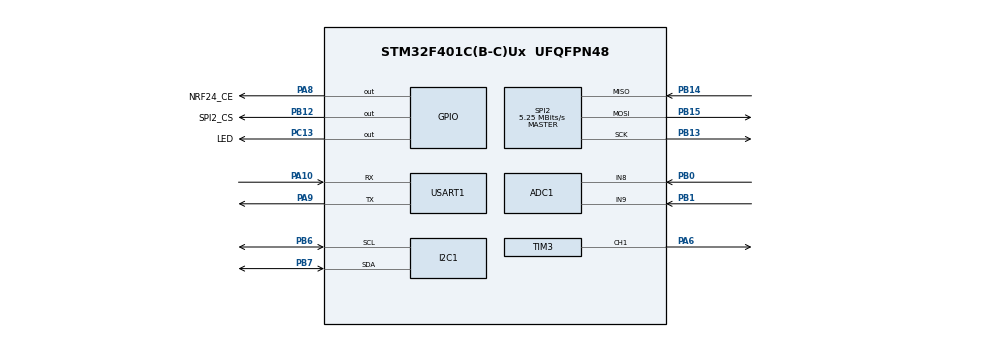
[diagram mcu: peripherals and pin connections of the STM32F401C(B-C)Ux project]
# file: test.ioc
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ADC1.Channel-0\#ChannelRegularConversion=ADC_CHANNEL_8
ADC1.Channel-1\#ChannelRegularConversion=ADC_CHANNEL_9
ADC1.ContinuousConvMode=ENABLE
ADC1.DMAContinuousRequests=ENABLE
ADC1.DiscontinuousConvMode=DISABLE
ADC1.EOCSelection=ADC_EOC_SEQ_CONV
ADC1.EnableAnalogWatchDog=false
ADC1.InjNumberOfConversion=0
ADC1.NbrOfConversion=2
ADC1.NbrOfConversionFlag=1
ADC1.Rank-0\#ChannelRegularConversion=1
ADC1.Rank-1\#ChannelRegularConversion=2
ADC1.SamplingTime-0\#ChannelRegularConversion=ADC_SAMPLETIME_3CYCLES
ADC1.SamplingTime-1\#ChannelRegularConversion=ADC_SAMPLETIME_3CYCLES
ADC1.ScanConvMode=ENABLE
ADC1.master=1
Dma.ADC1.0.Direction=DMA_PERIPH_TO_MEMORY
Dma.ADC1.0.FIFOMode=DMA_FIFOMODE_DISABLE
Dma.ADC1.0.Instance=DMA2_Stream0
Dma.ADC1.0.MemDataAlignment=DMA_MDATAALIGN_HALFWORD
Dma.ADC1.0.MemInc=DMA_MINC_ENABLE
Dma.ADC1.0.Mode=DMA_CIRCULAR
Dma.ADC1.0.PeriphDataAlignment=DMA_PDATAALIGN_HALFWORD
Dma.ADC1.0.PeriphInc=DMA_PINC_DISABLE
Dma.ADC1.0.Priority=DMA_PRIORITY_LOW
Dma.Request0=ADC1
I2C1.I2C_Mode=I2C_Fast
Mcu.Family=STM32F4
Mcu.Name=STM32F401C(B-C)Ux
Mcu.Package=UFQFPN48
NVIC.DMA2_Stream0_IRQn=true\:0\:0\:false\:false\:true\:false\:true\:true
NVIC.PriorityGroup=NVIC_PRIORITYGROUP_4
PA10.Mode=Asynchronous
PA10.Signal=USART1_RX
PA13.Mode=Serial_Wire
PA13.Signal=SYS_JTMS-SWDIO
PA14.Mode=Serial_Wire
PA14.Signal=SYS_JTCK-SWCLK
PA6.Signal=S_TIM3_CH1
PA8.GPIO_Label=NRF24_CE
PA8.Signal=GPIO_Output
PA9.Mode=Asynchronous
PA9.Signal=USART1_TX
PB0.Signal=ADCx_IN8
PB1.Signal=ADCx_IN9
PB12.GPIO_Label=SPI2_CS
PB12.Signal=GPIO_Output
PB13.Mode=Full_Duplex_Master
PB13.Signal=SPI2_SCK
PB14.Mode=Full_Duplex_Master
PB14.Signal=SPI2_MISO
PB15.Mode=Full_Duplex_Master
PB15.Signal=SPI2_MOSI
PB6.Mode=I2C
PB6.Signal=I2C1_SCL
PB7.Mode=I2C
PB7.Signal=I2C1_SDA
PC13-ANTI_TAMP.GPIO_Label=LED
PC13-ANTI_TAMP.PinState=GPIO_PIN_SET
PC13-ANTI_TAMP.Signal=GPIO_Output
PH0\ -\ OSC_IN.Mode=HSE-External-Oscillator
PH0\ -\ OSC_IN.Signal=RCC_OSC_IN
PH1\ -\ OSC_OUT.Mode=HSE-External-Oscillator
PH1\ -\ OSC_OUT.Signal=RCC_OSC_OUT
ProjectManager.HeapSize=0x200
ProjectManager.StackSize=0x400
ProjectManager.TargetToolchain=Makefile
RCC.48MHZClocksFreq_Value=48000000
RCC.AHBFreq_Value=84000000
RCC.APB1CLKDivider=RCC_HCLK_DIV2
RCC.APB1Freq_Value=42000000
RCC.APB1TimFreq_Value=84000000
RCC.APB2Freq_Value=84000000
RCC.APB2TimFreq_Value=84000000
RCC.CortexFreq_Value=84000000
RCC.HCLKFreq_Value=84000000
RCC.HSE_VALUE=25000000
RCC.HSI_VALUE=16000000
RCC.LSE_VALUE=32768
RCC.PLLM=25
RCC.PLLN=336
RCC.PLLP=RCC_PLLP_DIV4
RCC.PLLQ=7
RCC.PLLSourceVirtual=RCC_PLLSOURCE_HSE
RCC.SYSCLKFreq_VALUE=84000000
RCC.SYSCLKSource=RCC_SYSCLKSOURCE_PLLCLK
RCC.VCOOutputFreq_Value=336000000
SH.ADCx_IN8.0=ADC1_IN8,IN8
SH.ADCx_IN9.0=ADC1_IN9,IN9
SH.S_TIM3_CH1.0=TIM3_CH1,PWM Generation1 CH1
SPI2.BaudRatePrescaler=SPI_BAUDRATEPRESCALER_8
SPI2.CalculateBaudRate=5.25 MBits/s
SPI2.Direction=SPI_DIRECTION_2LINES
SPI2.Mode=SPI_MODE_MASTER
SPI2.VirtualType=VM_MASTER
TIM2.AutoReloadPreload=TIM_AUTORELOAD_PRELOAD_DISABLE
TIM2.Channel-PWM\ Generation1\ CH1=TIM_CHANNEL_1
TIM2.Period=0xffffffff
TIM2.Prescaler=83
TIM2.TIM_MasterOutputTrigger=TIM_TRGO_RESET
TIM3.Channel-PWM\ Generation1\ CH1=TIM_CHANNEL_1
TIM3.Period=1679
TIM3.Prescaler=0
USART1.VirtualMode=VM_ASYNC
VP_TIM2_VS_ClockSourceINT.Mode=Internal
board=custom

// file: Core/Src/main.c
/* USER CODE BEGIN Header */
/**
  ******************************************************************************
  * @file           : main.c
  * @brief          : Main program body
  ******************************************************************************
  * @attention
  *
  * Copyright (c) 2023 STMicroelectronics.
  * All rights reserved.
  *
  * This software is licensed under terms that can be found in the LICENSE file
  * in the root directory of this software component.
  * If no LICENSE file comes with this software, it is provided AS-IS.
  *
  ******************************************************************************
  */
/* USER CODE END Header */
#include "main.h"
#include "adc.h"
#include "dma.h"
#include "i2c.h"
#include "spi.h"
#include "tim.h"
#include "usart.h"
#include "gpio.h"

/* USER CODE BEGIN Includes */
#include "nrf24l01.h"
#include <string.h>
/* USER CODE END Includes */

void SystemClock_Config(void);

/* USER CODE BEGIN 0 */

static inline int16_t map(int16_t value, int16_t oldmin, int16_t oldmax, int16_t newmin, int16_t newmax)
{
  return (float)(value - oldmin) / (oldmax - oldmin) * (newmax - newmin) + newmin;
}

/* USER CODE END 0 */

int main(void)
{

  /* MCU Configuration--------------------------------------------------------*/

  /* Reset of all peripherals, Initializes the Flash interface and the Systick. */
  LL_APB2_GRP1_EnableClock(LL_APB2_GRP1_PERIPH_SYSCFG);
  LL_APB1_GRP1_EnableClock(LL_APB1_GRP1_PERIPH_PWR);

  /* System interrupt init*/
  NVIC_SetPriorityGrouping(NVIC_PRIORITYGROUP_4);

  /* SysTick_IRQn interrupt configuration */
  NVIC_SetPriority(SysTick_IRQn, NVIC_EncodePriority(NVIC_GetPriorityGrouping(),15, 0));

  /* Configure the system clock */
  SystemClock_Config();

  /* Initialize all configured peripherals */
  MX_GPIO_Init();
  MX_DMA_Init();
  MX_TIM2_Init();
  MX_USART1_UART_Init();
  MX_I2C1_Init();
  MX_ADC1_Init();
  MX_TIM3_Init();
  MX_SPI2_Init();
  /* USER CODE BEGIN 2 */

  uint8_t addr[5] = {0x00, 0xDD, 0xCC, 0xBB, 0xAA};
  uint8_t string[32];

  nrf24_init();

  nrf24_print_register_value();

  nrf24_rx(1, addr);

  USART_TransmitChar(USART1, '\n');

  nrf24_print_register_value();

  /* USER CODE END 2 */

  /* Infinite loop */
  /* USER CODE BEGIN WHILE */
  while (1)
  {
    if (nrf24_available(1))
    {
      nrf24_receive(string);
      USART_TransmitString(USART1, string, strlen((char *)string));
      USART_TransmitString(USART1, (uint8_t *)"\r\n", strlen("\r\n"));
      LL_GPIO_TogglePin(LED_GPIO_Port, LED_Pin);
    }

    /* USER CODE END WHILE */

  }
}

void SystemClock_Config(void)
{
  LL_FLASH_SetLatency(LL_FLASH_LATENCY_2);
  while(LL_FLASH_GetLatency()!= LL_FLASH_LATENCY_2)
  {
  }
  LL_PWR_SetRegulVoltageScaling(LL_PWR_REGU_VOLTAGE_SCALE2);
  LL_RCC_HSE_Enable();

   /* Wait till HSE is ready */
  while(LL_RCC_HSE_IsReady() != 1)
  {

  }
  LL_RCC_PLL_ConfigDomain_SYS(LL_RCC_PLLSOURCE_HSE, LL_RCC_PLLM_DIV_25, 336, LL_RCC_PLLP_DIV_4);
  LL_RCC_PLL_Enable();

   /* Wait till PLL is ready */
  while(LL_RCC_PLL_IsReady() != 1)
  {

  }
  while (LL_PWR_IsActiveFlag_VOS() == 0)
  {
  }
  LL_RCC_SetAHBPrescaler(LL_RCC_SYSCLK_DIV_1);
  LL_RCC_SetAPB1Prescaler(LL_RCC_APB1_DIV_2);
  LL_RCC_SetAPB2Prescaler(LL_RCC_APB2_DIV_1);
  LL_RCC_SetSysClkSource(LL_RCC_SYS_CLKSOURCE_PLL);

   /* Wait till System clock is ready */
  while(LL_RCC_GetSysClkSource() != LL_RCC_SYS_CLKSOURCE_STATUS_PLL)
  {

  }
  LL_Init1msTick(84000000);
  LL_SetSystemCoreClock(84000000);
  LL_RCC_SetTIMPrescaler(LL_RCC_TIM_PRESCALER_TWICE);
}

/* USER CODE BEGIN 4 */

void Delay_ms(uint32_t Delay)
{
	__IO uint32_t tmp = SysTick->CTRL;  /* Clear the COUNTFLAG first */
	/* Add this code to indicate that local variable is not used */
	((void)tmp);

	while (Delay)
	{
		if((SysTick->CTRL & SysTick_CTRL_COUNTFLAG_Msk) != 0U)
		{
			Delay--;
		}
	}
}

/* USER CODE END 4 */

void Error_Handler(void)
{
  __disable_irq();
  while (1)
  {
  }
}
